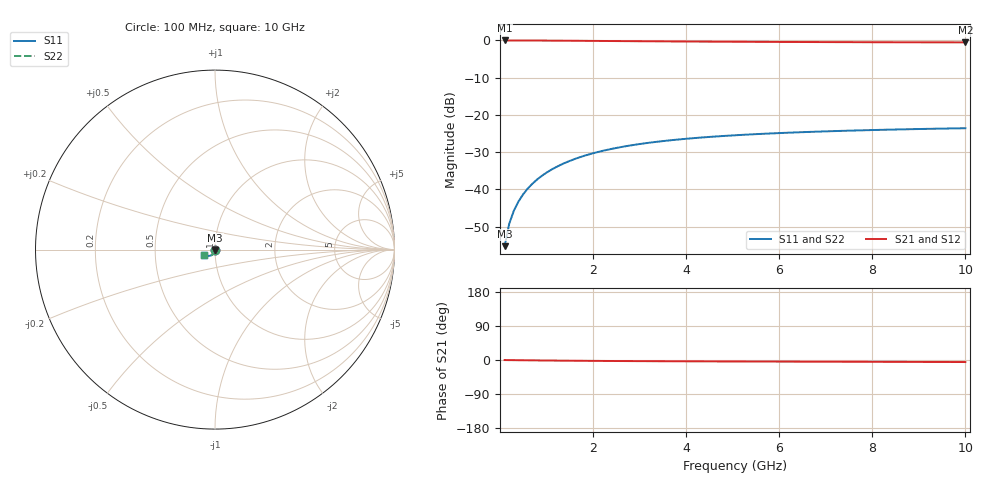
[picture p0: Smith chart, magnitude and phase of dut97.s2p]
! Touchstone file exported from HFSS 2024.1.0
!  File:  C:/UserFiles/LocalFiles/RDL_TSV_Batchsim/temp_TSV1_97_1779376627.aedt
!  Generated:  11:21:05 PM May 21, 2026
!  Design:  TSV1
!  Project:  temp_TSV1_97_1779376627
!  Setup:  Setup1
!  Solution:  Sweep
! Variables:
!  dtsv = 13.11um
!  hbump = 3um
!  htsv = 81.45um
!  lrdl = 252.1521522um
!  p = 40
!  p1 = 42.1um
!  t = 500um
!  trdl = 3um
!  wrdl = 24.89489489um
# GHz S MA R 50.000000
! Terminal data exported
! Port[1] = TSV22_T1
! Port[2] = TSV22_T2
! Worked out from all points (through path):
!   100 points, 100 MHz to 10 GHz, reference 50 ohm
!   highest |S21| = 0.00 dB at 100 MHz (marker M1); lowest = -0.5 dB at 10 GHz (marker M2)
!   lowest |S11| = -55.3 dB at 100 MHz (marker M3), VSWR 1.00, Z = 50 - j0.172 ohm
!   |S11| at or under -10 dB: start of sweep to end of sweep
!   |S22| runs from -55.3 to -23.6 dB; largest |S21 - S12| = 4.7e-15
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0.1  0.001722 -88.4  0.9999 -0.1  0.9999 -0.1  0.001722 -88.4
! Gamma 0 0 0 0
! Port Impedance 50 0 50 0
0.2  0.003459 -91.3  0.9997 -0.3  0.9997 -0.3  0.003459 -91.3
0.3  0.005187 -93.3  0.9995 -0.4  0.9995 -0.4  0.005187 -93.3
0.4  0.006902 -95.0  0.9992 -0.5  0.9992 -0.5  0.006902 -95.0
0.5  0.008601 -96.6  0.9988 -0.7  0.9988 -0.7  0.008601 -96.6
0.6  0.01028 -98.2  0.9983 -0.8  0.9983 -0.8  0.01028 -98.2
0.7  0.01194 -99.7  0.9977 -0.9  0.9977 -0.9  0.01194 -99.7
0.8  0.01357 -101.2  0.9971 -1.1  0.9971 -1.1  0.01357 -101.2
0.9  0.01517 -102.6  0.9964 -1.2  0.9964 -1.2  0.01517 -102.6
1.1  0.01829 -105.4  0.9949 -1.4  0.9949 -1.4  0.01829 -105.4
1.4  0.0227 -109.3  0.9922 -1.7  0.9922 -1.7  0.0227 -109.3
1.6  0.02545 -111.8  0.9903 -1.9  0.9903 -1.9  0.02545 -111.8
1.8  0.02805 -114.2  0.9883 -2.1  0.9883 -2.1  0.02805 -114.2
2.1  0.03166 -117.5  0.9853 -2.4  0.9853 -2.4  0.03166 -117.5
2.5  0.03595 -121.5  0.9813 -2.7  0.9813 -2.7  0.03595 -121.5
2.9  0.03969 -125.1  0.9774 -2.9  0.9774 -2.9  0.03969 -125.1
3.4  0.04371 -129.1  0.9728 -3.2  0.9728 -3.2  0.04371 -129.1
4.2  0.04891 -134.3  0.9663 -3.6  0.9663 -3.6  0.04891 -134.3
5.1  0.05342 -139.0  0.9602 -3.9  0.9602 -3.9  0.05342 -139.0
6.7  0.0592 -145.2  0.9519 -4.4  0.9519 -4.4  0.0592 -145.2
8.4  0.06339 -150.0  0.9457 -4.9  0.9457 -4.9  0.06339 -150.0
10  0.0662 -153.4  0.9414 -5.4  0.9414 -5.4  0.0662 -153.4
